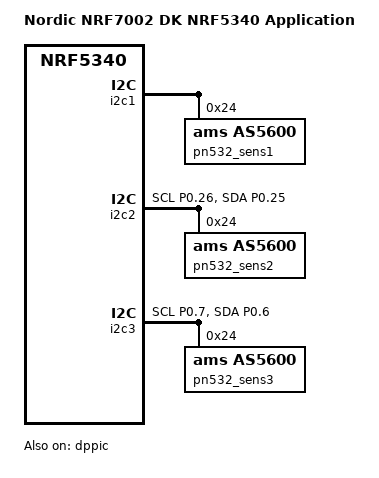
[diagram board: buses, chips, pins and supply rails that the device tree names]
/*
 * Copyright (c) 2022 Nordic Semiconductor ASA
 *
 * SPDX-License-Identifier: LicenseRef-Nordic-5-Clause
 */

/dts-v1/;
#include <nordic/nrf5340_cpuapp_qkaa.dtsi>
#include "nrf5340_cpuapp_common.dtsi"
#include "nrf7002dk_nrf5340_cpuapp-pinctrl.dtsi"

/ {
	model = "Nordic NRF7002 DK NRF5340 Application";
	compatible = "nordic,nrf7002-dk-nrf5340-cpuapp";

	chosen {
		zephyr,sram = &sram0_image;
		zephyr,flash = &flash0;
		zephyr,code-partition = &slot0_partition;
		zephyr,sram-secure-partition = &sram0_s;
		zephyr,sram-non-secure-partition = &sram0_ns;
		zephyr,wifi = &nordic_wlan0;
	};

	nrf70_tx_power_ceiling: nrf70_tx_power_ceiling_node {
		status = "okay";
		compatible = "nordic,nrf700x-tx-power-ceiling";
		max-pwr-2g-dsss = <0x54>;
		max-pwr-2g-mcs0 = <0x40>;
		max-pwr-2g-mcs7 = <0x40>;
		max-pwr-5g-low-mcs0 = <0x24>;
		max-pwr-5g-low-mcs7 = <0x24>;
		max-pwr-5g-mid-mcs0 = <0x2C>;
		max-pwr-5g-mid-mcs7 = <0x2C>;
		max-pwr-5g-high-mcs0 = <0x34>;
		max-pwr-5g-high-mcs7 = <0x34>;
	};
};

&i2c1 {
	pn532_sens1: as5600@24 {
		compatible = "ams,as5600";
		reg = <0x24>;
	};
};

&dppic {
	status = "okay";
};
&i2c2 {
	status = "okay";
	pinctrl-0 = <&i2c2_default>;
	pinctrl-names = "default";
	pn532_sens2: as5600@24 {
		compatible = "ams,as5600";
		reg = <0x24>;
	};
};

&i2c3 {
	status = "okay";
	pinctrl-0 = <&i2c3_default>;
	pinctrl-names = "default";
	pn532_sens3: as5600@24 {
		compatible = "ams,as5600";
		reg = <0x24>;
	};
};

&pinctrl {
	i2c2_default: i2c2_default {
		group1 {
			psels = <NRF_PSEL(TWIM_SCL, 0, 26)>, <NRF_PSEL(TWIM_SDA, 0, 25)>;
		};
	};

	i2c3_default: i2c3_default {
		group1 {
			psels = <NRF_PSEL(TWIM_SCL, 0, 7)>, <NRF_PSEL(TWIM_SDA, 0, 6)>;
		};
	};
};

